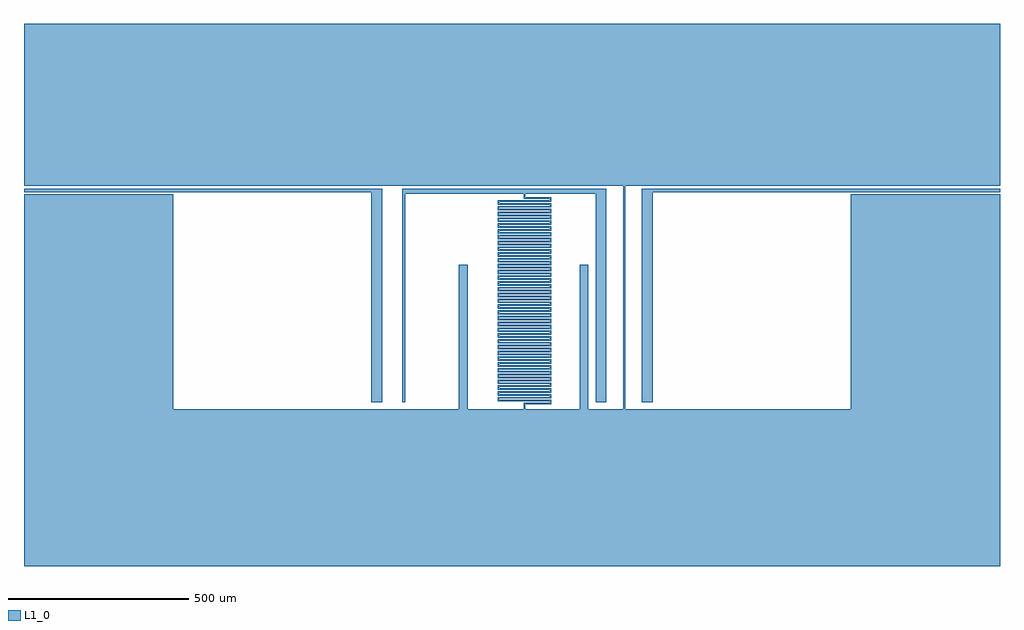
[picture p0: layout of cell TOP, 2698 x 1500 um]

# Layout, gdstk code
import gdstk
lib = gdstk.Library(unit=1e-6, precision=1e-09)
def R(c, l, rs):  # rectangles x0, y0, x1, y1
    for r in rs: c.add(gdstk.rectangle(r[:2], r[2:], *l))
def P(c, l, *ps):  # polygons
    for p in ps: c.add(gdstk.Polygon(p, *l))
L1_0 = (1, 0)

t2_coil = lib.new_cell('T2_COIL')
P(t2_coil, L1_0, [(76,14),(148,14),(148,26),(4,26),(4,30),(148,30),(148,42),(4,42),(4,46),(148,46),(148,58),(4,58),(4,62),(148,62),(148,74),(4,74),(4,78),(148,78),(148,90),(4,90),(4,94),(148,94),(148,106),(4,106),(4,110),(148,110),(148,122),(4,122),(4,126),(148,126),(148,138),(4,138),(4,142),(148,142),(148,154),(4,154),(4,158),(148,158),(148,170),(4,170),(4,174),(148,174),(148,186),(4,186),(4,190),(148,190),(148,202),(4,202),(4,206),(148,206),(148,218),(4,218),(4,222),(148,222),(148,234),(4,234),(4,238),(148,238),(148,250),(4,250),(4,254),(148,254),(148,266),(4,266),(4,270),(148,270),(148,282),(4,282),(4,286),(148,286),(148,298),(4,298),(4,302),(0,302),(0,294),(144,294),(144,290),(0,290),(0,278),(144,278),(144,274),(0,274),(0,262),(144,262),(144,258),(0,258),(0,246),(144,246),(144,242),(0,242),(0,230),(144,230),(144,226),(0,226),(0,214),(144,214),(144,210),(0,210),(0,198),(144,198),(144,194),(0,194),(0,182),(144,182),(144,178),(0,178),(0,166),(144,166),(144,162),(0,162),(0,150),(144,150),(144,146),(0,146),(0,134),(144,134),(144,130),(0,130),(0,118),(144,118),(144,114),(0,114),(0,102),(144,102),(144,98),(0,98),(0,86),(144,86),(144,82),(0,82),(0,70),(144,70),(144,66),(0,66),(0,54),(144,54),(144,50),(0,50),(0,38),(144,38),(144,34),(0,34),(0,22),(144,22),(144,18),(72,18),(72,0),(76,0)],
  [(148,314),(4,314),(4,318),(148,318),(148,330),(4,330),(4,334),(148,334),(148,346),(4,346),(4,350),(148,350),(148,362),(4,362),(4,366),(148,366),(148,378),(4,378),(4,382),(148,382),(148,394),(4,394),(4,398),(148,398),(148,410),(4,410),(4,414),(148,414),(148,426),(4,426),(4,430),(148,430),(148,442),(4,442),(4,446),(148,446),(148,458),(4,458),(4,462),(148,462),(148,474),(4,474),(4,478),(148,478),(148,490),(4,490),(4,494),(148,494),(148,506),(4,506),(4,510),(148,510),(148,522),(4,522),(4,526),(148,526),(148,538),(4,538),(4,542),(148,542),(148,554),(4,554),(4,558),(148,558),(148,570),(4,570),(4,574),(148,574),(148,586),(76,586),(76,596),(72,596),(72,582),(144,582),(144,578),(0,578),(0,566),(144,566),(144,562),(0,562),(0,550),(144,550),(144,546),(0,546),(0,534),(144,534),(144,530),(0,530),(0,518),(144,518),(144,514),(0,514),(0,502),(144,502),(144,498),(0,498),(0,486),(144,486),(144,482),(0,482),(0,470),(144,470),(144,466),(0,466),(0,454),(144,454),(144,450),(0,450),(0,438),(144,438),(144,434),(0,434),(0,422),(144,422),(144,418),(0,418),(0,406),(144,406),(144,402),(0,402),(0,390),(144,390),(144,386),(0,386),(0,374),(144,374),(144,370),(0,370),(0,358),(144,358),(144,354),(0,354),(0,342),(144,342),(144,338),(0,338),(0,326),(144,326),(144,322),(0,322),(0,310),(144,310),(144,306),(0,306),(0,302),(148,302)])

t2_pad = lib.new_cell('T2_PAD')
R(t2_pad, L1_0, [(0,0,24,400)])

asymmetric_t2 = lib.new_cell('ASYMMETRIC_T2')
P(asymmetric_t2, L1_0, [(-282,-598),(-274,-598),(-274,-22),(252,-22),(252,-598),(282,-598),(282,-8),(-282,-8)])
asymmetric_t2.add(gdstk.Reference(t2_coil, (-18,-618)))
asymmetric_t2.add(gdstk.Reference(t2_pad, (-126,-618)))
asymmetric_t2.add(gdstk.Reference(t2_pad, (208,-618)))

top = lib.new_cell('TOP')
P(top, L1_0, [(990,-8),(0,-8),(0,-18),(960,-18),(960,-598),(990,-598)],
  [(1738,-18),(2698,-18),(2698,-8),(1708,-8),(1708,-598),(1738,-598)],
  [(2698,0),(2698,448),(0,448),(0,0),(1656,0),(1656,-618),(412,-618),(412,-24),(0,-24),(0,-1052),(2698,-1052),(2698,-24),(2286,-24),(2286,-618),(1662,-618),(1662,0)])
top.add(gdstk.Reference(asymmetric_t2, (1328,0)))

lib.write_gds('TOP.gds')
